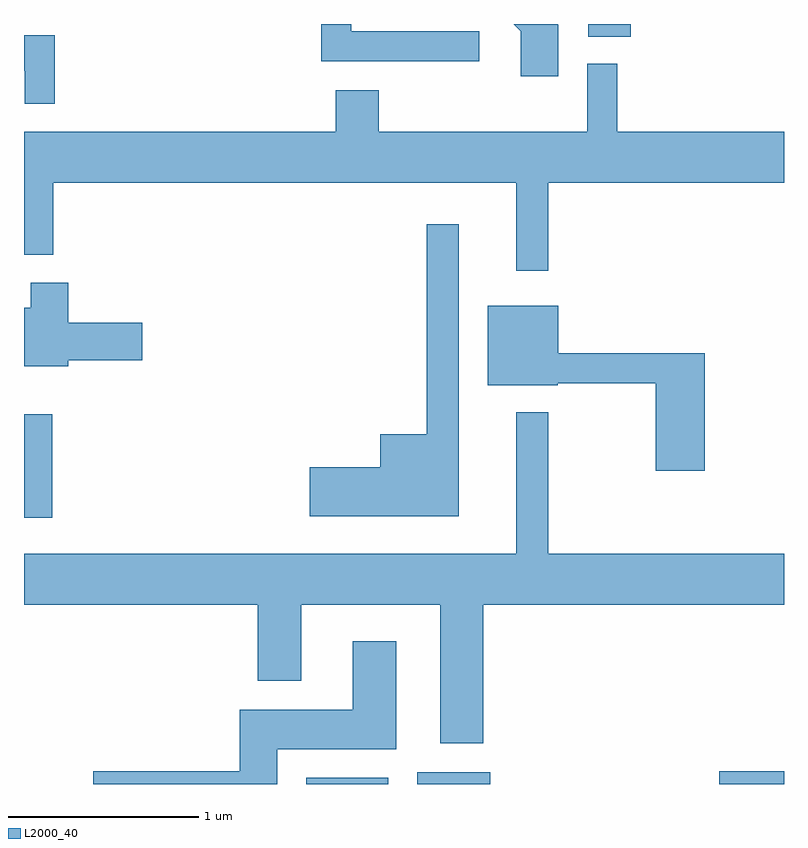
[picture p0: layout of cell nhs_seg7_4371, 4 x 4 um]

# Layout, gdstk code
import gdstk
lib = gdstk.Library(unit=1e-6, precision=1e-09)
def R(c, l, rs):  # rectangles x0, y0, x1, y1
    for r in rs: c.add(gdstk.rectangle(r[:2], r[2:], *l))
def P(c, l, *ps):  # polygons
    for p in ps: c.add(gdstk.Polygon(p, *l))
L2000_40 = (2000, 40)

nhs_seg7_4371 = lib.new_cell('nhs_seg7_4371')
R(nhs_seg7_4371, L2000_40, [(321.096,1722.252,321.529,1722.284), (321.681,1722.252,322.064,1722.314), (323.271,1722.252,323.611,1722.319), (319.611,1723.653,319.759,1724.199), (322.581,1726.186,322.804,1726.252)])
P(nhs_seg7_4371, L2000_40, [(322.424,1726.247),(322.419,1726.252),(322.188,1726.252),(322.226,1726.214),(322.226,1725.976),(322.424,1725.976)],
  [(322.008,1726.214),(321.334,1726.214),(321.334,1726.252),(321.176,1726.252),(321.176,1726.056),(322.008,1726.056)],
  [(319.774,1726.194),(319.611,1726.194),(319.611,1726.006),(319.616,1726.006),(319.616,1725.833),(319.774,1725.833)],
  [(322.369,1725.416),(323.611,1725.416),(323.611,1725.684),(322.734,1725.684),(322.734,1726.043),(322.576,1726.043),(322.576,1725.684),(321.479,1725.684),(321.479,1725.904),(321.251,1725.904),(321.251,1725.684),(319.611,1725.684),(319.611,1725.038),(319.764,1725.038),(319.764,1725.416),(322.201,1725.416),(322.201,1724.953),(322.369,1724.953)],
  [(321.899,1725.198),(321.731,1725.198),(321.731,1724.094),(321.486,1724.094),(321.486,1723.919),(321.116,1723.919),(321.116,1723.661),(321.899,1723.661)],
  [(319.844,1724.481),(320.234,1724.481),(320.234,1724.679),(319.844,1724.679),(319.844,1724.889),(319.646,1724.889),(319.646,1724.759),(319.611,1724.759),(319.611,1724.451),(319.844,1724.451)],
  [(323.194,1724.519),(322.424,1724.519),(322.424,1724.769),(322.051,1724.769),(322.051,1724.351),(322.42,1724.351),(322.42,1724.361),(322.936,1724.361),(322.936,1723.901),(323.194,1723.901)],
  [(322.029,1723.196),(323.611,1723.196),(323.611,1723.464),(322.369,1723.464),(322.369,1724.208),(322.201,1724.208),(322.201,1723.464),(319.611,1723.464),(319.611,1723.196),(320.841,1723.196),(320.841,1722.796),(321.069,1722.796),(321.069,1723.196),(321.801,1723.196),(321.801,1722.466),(322.029,1722.466)],
  [(320.944,1722.436),(321.569,1722.436),(321.569,1723.004),(321.341,1723.004),(321.341,1722.644),(320.746,1722.644),(320.746,1722.319),(319.976,1722.319),(319.976,1722.252),(320.944,1722.252)])

lib.write_gds('nhs_seg7_4371.gds')
